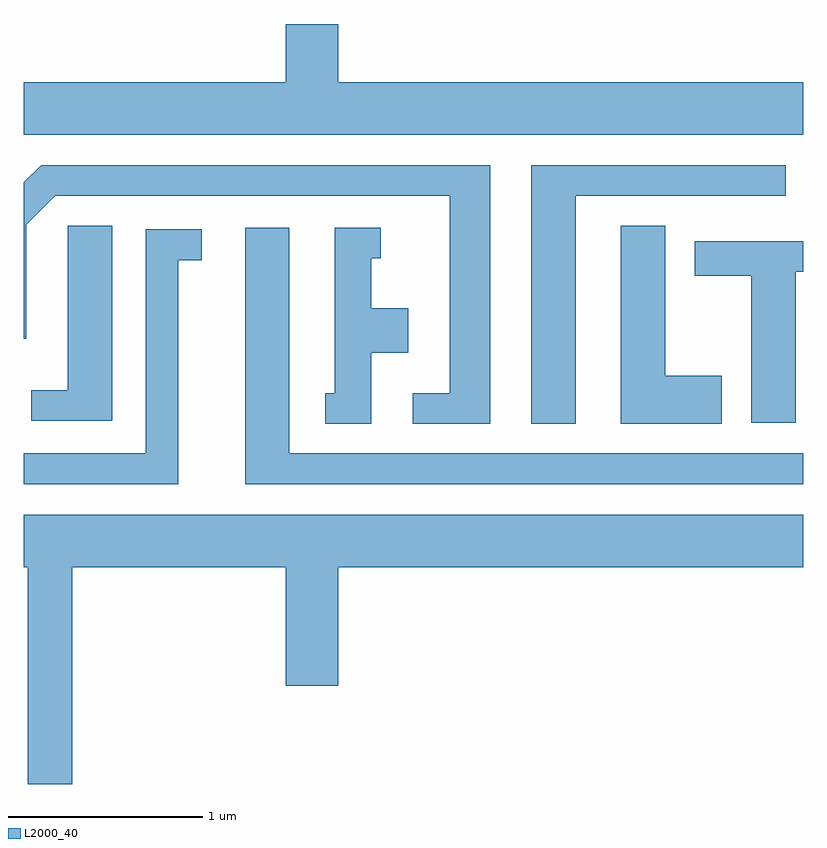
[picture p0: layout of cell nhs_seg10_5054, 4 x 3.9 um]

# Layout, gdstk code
import gdstk
lib = gdstk.Library(unit=1e-6, precision=1e-09)
def P(c, l, *ps):  # polygons
    for p in ps: c.add(gdstk.Polygon(p, *l))
L2000_40 = (2000, 40)

nhs_seg10_5054 = lib.new_cell('nhs_seg10_5054')
P(nhs_seg10_5054, L2000_40, [(337.611,2174.124),(335.224,2174.124),(335.224,2174.424),(334.956,2174.424),(334.956,2174.124),(333.611,2174.124),(333.611,2173.856),(337.611,2173.856)],
  [(336.004,2173.699),(333.699,2173.699),(333.611,2173.611),(333.611,2172.808),(333.624,2172.808),(333.624,2173.394),(333.772,2173.541),(335.796,2173.541),(335.796,2172.529),(335.608,2172.529),(335.608,2172.371),(336.004,2172.371)],
  [(336.444,2173.541),(337.523,2173.541),(337.523,2173.699),(336.216,2173.699),(336.216,2172.371),(336.444,2172.371)],
  [(337.194,2172.619),(336.904,2172.619),(336.904,2173.389),(336.676,2173.389),(336.676,2172.371),(337.194,2172.371)],
  [(334.064,2173.389),(333.836,2173.389),(333.836,2172.544),(333.648,2172.544),(333.648,2172.386),(334.064,2172.386)],
  [(335.394,2172.736),(335.584,2172.736),(335.584,2172.964),(335.394,2172.964),(335.394,2173.221),(335.443,2173.221),(335.443,2173.379),(335.206,2173.379),(335.206,2172.529),(335.158,2172.529),(335.158,2172.371),(335.394,2172.371)],
  [(337.611,2172.219),(334.974,2172.219),(334.974,2173.379),(334.746,2173.379),(334.746,2172.061),(337.611,2172.061)],
  [(334.404,2173.211),(334.523,2173.211),(334.523,2173.369),(334.236,2173.369),(334.236,2172.219),(333.611,2172.219),(333.611,2172.061),(334.404,2172.061)],
  [(337.574,2173.151),(337.611,2173.151),(337.611,2173.309),(337.056,2173.309),(337.056,2173.131),(337.346,2173.131),(337.346,2172.376),(337.574,2172.376)],
  [(333.859,2171.636),(334.956,2171.636),(334.956,2171.026),(335.224,2171.026),(335.224,2171.636),(337.611,2171.636),(337.611,2171.904),(333.611,2171.904),(333.611,2171.636),(333.631,2171.636),(333.631,2170.522),(333.859,2170.522)])

lib.write_gds('nhs_seg10_5054.gds')
